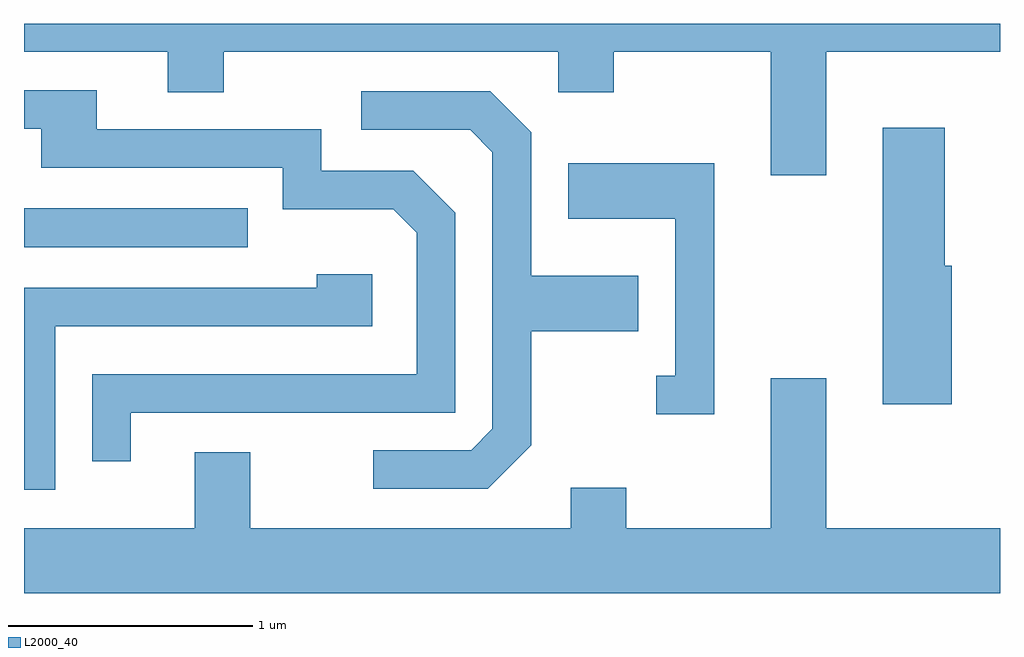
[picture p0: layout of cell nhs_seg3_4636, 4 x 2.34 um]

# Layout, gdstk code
import gdstk
lib = gdstk.Library(unit=1e-6, precision=1e-09)
def R(c, l, rs):  # rectangles x0, y0, x1, y1
    for r in rs: c.add(gdstk.rectangle(r[:2], r[2:], *l))
def P(c, l, *ps):  # polygons
    for p in ps: c.add(gdstk.Polygon(p, *l))
L2000_40 = (2000, 40)

nhs_seg3_4636 = lib.new_cell('nhs_seg3_4636')
R(nhs_seg3_4636, L2000_40, [(321.611,1142.976,322.528,1143.134)])
P(nhs_seg3_4636, L2000_40, [(324.899,1143.776),(325.611,1143.776),(325.611,1143.892),(321.611,1143.892),(321.611,1143.776),(322.201,1143.776),(322.201,1143.611),(322.429,1143.611),(322.429,1143.776),(323.801,1143.776),(323.801,1143.611),(324.029,1143.611),(324.029,1143.776),(324.671,1143.776),(324.671,1143.271),(324.899,1143.271)],
  [(322.049,1142.296),(323.379,1142.296),(323.379,1143.117),(323.207,1143.289),(322.829,1143.289),(322.829,1143.459),(321.909,1143.459),(321.909,1143.619),(321.611,1143.619),(321.611,1143.461),(321.681,1143.461),(321.681,1143.301),(322.671,1143.301),(322.671,1143.131),(323.124,1143.131),(323.221,1143.034),(323.221,1142.454),(321.891,1142.454),(321.891,1142.098),(322.049,1142.098)],
  [(323.689,1142.164),(323.689,1142.631),(324.129,1142.631),(324.129,1142.859),(323.689,1142.859),(323.689,1143.447),(323.522,1143.614),(322.993,1143.614),(322.993,1143.456),(323.439,1143.456),(323.531,1143.364),(323.531,1142.232),(323.444,1142.144),(323.043,1142.144),(323.043,1141.986),(323.512,1141.986)],
  [(325.414,1142.899),(325.384,1142.899),(325.384,1143.464),(325.131,1143.464),(325.131,1142.331),(325.414,1142.331)],
  [(324.439,1143.319),(323.841,1143.319),(323.841,1143.091),(324.281,1143.091),(324.281,1142.449),(324.203,1142.449),(324.203,1142.291),(324.439,1142.291)],
  [(321.739,1142.651),(323.039,1142.651),(323.039,1142.864),(322.811,1142.864),(322.811,1142.809),(321.611,1142.809),(321.611,1141.981),(321.739,1141.981)],
  [(325.611,1141.824),(324.899,1141.824),(324.899,1142.439),(324.671,1142.439),(324.671,1141.824),(324.079,1141.824),(324.079,1141.989),(323.851,1141.989),(323.851,1141.824),(322.539,1141.824),(322.539,1142.134),(322.311,1142.134),(322.311,1141.824),(321.611,1141.824),(321.611,1141.556),(325.611,1141.556)])

lib.write_gds('nhs_seg3_4636.gds')
